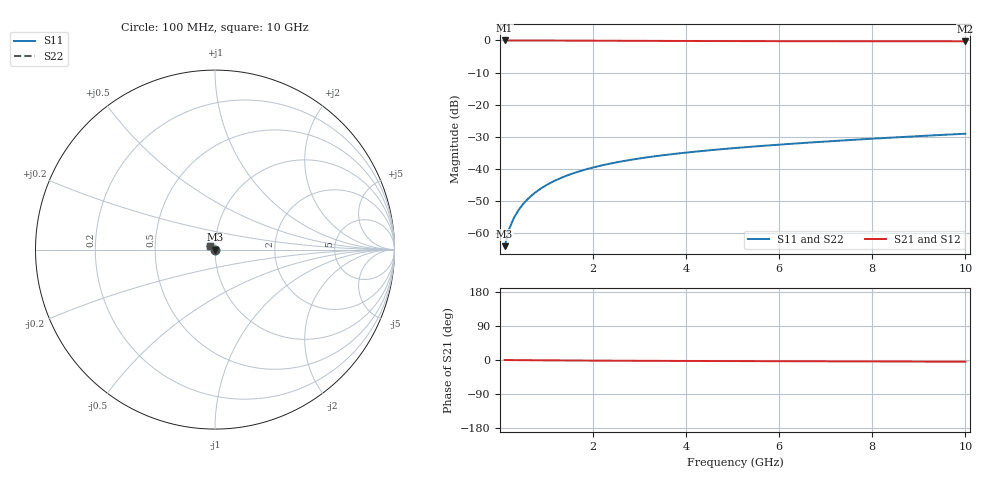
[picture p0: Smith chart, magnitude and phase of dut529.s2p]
! Touchstone file exported from HFSS 2024.1.0
!  File:  C:/UserFiles/LocalFiles/RDL_TSV_Batchsim/temp_TSV1_529_1779704246.aedt
!  Generated:  06:23:57 PM May 25, 2026
!  Design:  TSV1
!  Project:  temp_TSV1_529_1779704246
!  Setup:  Setup1
!  Solution:  Sweep
! Variables:
!  dtsv = 6.89um
!  hbump = 3um
!  htsv = 62.24um
!  lrdl = 252.1521522um
!  p = 40
!  p1 = 57.83um
!  t = 500um
!  trdl = 3um
!  wrdl = 24.89489489um
# GHz S MA R 50.000000
! Terminal data exported
! Port[1] = TSV22_T1
! Port[2] = TSV22_T2
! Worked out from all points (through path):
!   100 points, 100 MHz to 10 GHz, reference 50 ohm
!   highest |S21| = 0.00 dB at 100 MHz (marker M1); lowest = -0.3 dB at 10 GHz (marker M2)
!   lowest |S11| = -64.1 dB at 100 MHz (marker M3), VSWR 1.00, Z = 50 - j0.058 ohm
!   |S11| at or under -10 dB: start of sweep to end of sweep
!   |S22| runs from -64.1 to -29.1 dB; largest |S21 - S12| = 5.1e-15
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0.1  0.0006249 -68.1  0.9997 -0.1  0.9997 -0.1  0.0006249 -68.1
! Gamma 0 0 0 0
! Port Impedance 50 0 50 0
0.2  0.001166 -82.3  0.9996 -0.2  0.9996 -0.2  0.001166 -82.3
0.3  0.001724 -89.1  0.9995 -0.3  0.9995 -0.3  0.001724 -89.1
0.4  0.002285 -93.8  0.9993 -0.4  0.9993 -0.4  0.002285 -93.8
0.5  0.002846 -97.7  0.9991 -0.5  0.9991 -0.5  0.002846 -97.7
0.6  0.003405 -101.0  0.9988 -0.5  0.9988 -0.5  0.003405 -101.0
0.7  0.00396 -104.1  0.9984 -0.6  0.9984 -0.6  0.00396 -104.1
0.8  0.004511 -107.0  0.9981 -0.7  0.9981 -0.7  0.004511 -107.0
0.9  0.005055 -109.8  0.9977 -0.8  0.9977 -0.8  0.005055 -109.8
1.1  0.006124 -115.0  0.9968 -1.0  0.9968 -1.0  0.006124 -115.0
1.4  0.007666 -122.4  0.9952 -1.2  0.9952 -1.2  0.007666 -122.4
1.6  0.008649 -127.0  0.9941 -1.3  0.9941 -1.3  0.008649 -127.0
1.8  0.009594 -131.5  0.9929 -1.5  0.9929 -1.5  0.009594 -131.5
2.1  0.01094 -137.8  0.9912 -1.6  0.9912 -1.6  0.01094 -137.8
2.5  0.01261 -145.7  0.9888 -1.9  0.9888 -1.9  0.01261 -145.7
2.9  0.01416 -153.0  0.9865 -2.1  0.9865 -2.1  0.01416 -153.0
3.4  0.01594 -161.2  0.9839 -2.3  0.9839 -2.3  0.01594 -161.2
4.2  0.01854 -172.8  0.9804 -2.6  0.9804 -2.6  0.01854 -172.8
5.1  0.02124 176.3  0.9772 -2.9  0.9772 -2.9  0.02124 176.3
6.7  0.02581 161.0  0.9733 -3.4  0.9733 -3.4  0.02581 161.0
8.4  0.03063 149.0  0.9706 -3.9  0.9706 -3.9  0.03063 149.0
10  0.03527 140.3  0.9688 -4.5  0.9688 -4.5  0.03527 140.3
